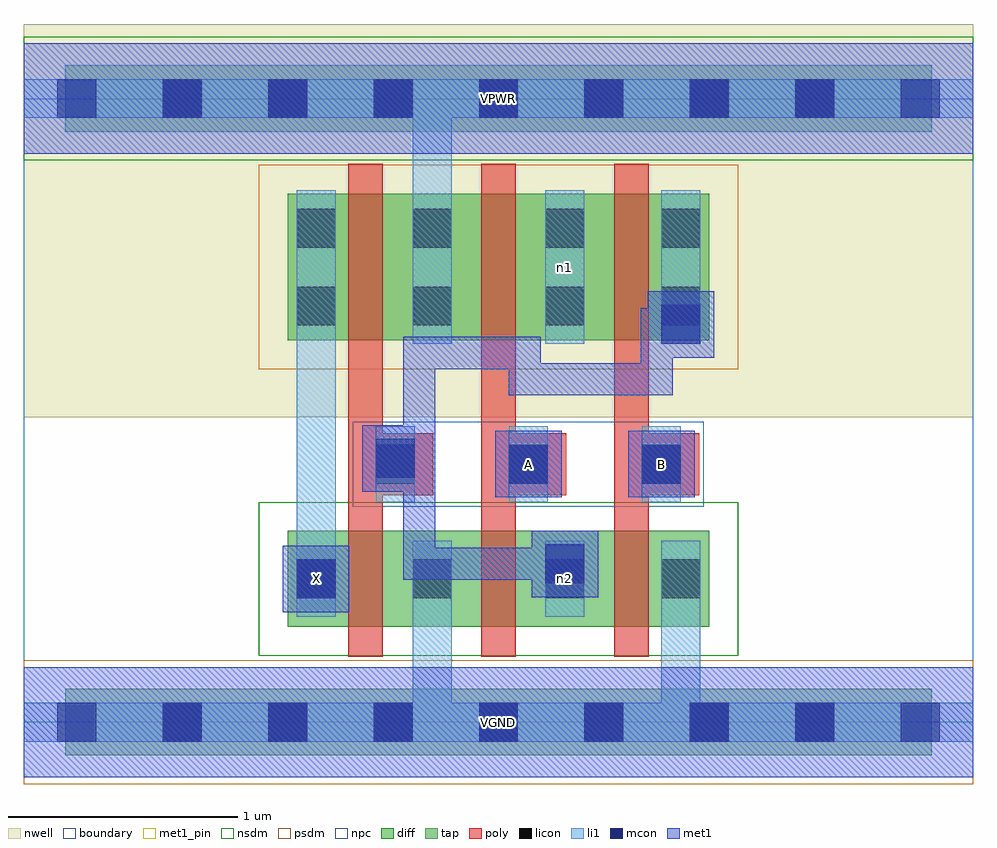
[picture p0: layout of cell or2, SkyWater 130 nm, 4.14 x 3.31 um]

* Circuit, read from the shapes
.subckt or2 A B VGND VPWR X n1 n2
XM1 VGND n2 X VGND sky130_fd_pr__nfet_01v8 w=0.42 l=0.15
XM2 n2 A VGND VGND sky130_fd_pr__nfet_01v8 w=0.42 l=0.15
XM3 VGND B n2 VGND sky130_fd_pr__nfet_01v8 w=0.42 l=0.15
XM4 VPWR n2 X VPWR sky130_fd_pr__pfet_01v8 w=0.64 l=0.15
XM5 n1 A VPWR VPWR sky130_fd_pr__pfet_01v8 w=0.64 l=0.15
XM6 n2 B n1 VPWR sky130_fd_pr__pfet_01v8 w=0.64 l=0.15
.ends

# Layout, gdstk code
import gdstk
lib = gdstk.Library(unit=1e-6, precision=1e-09)
def R(c, l, rs):  # rectangles x0, y0, x1, y1
    for r in rs: c.add(gdstk.rectangle(r[:2], r[2:], *l))
def A(c, l, x, y, w, h, nx, ny, dx, dy):  # array of equal rectangles
    R(c, l, [(x+i*dx, y+j*dy, x+i*dx+w, y+j*dy+h) for i in range(nx) for j in range(ny)])
nwell = (64, 20)
diff = (65, 20)
tap = (65, 44)
poly = (66, 20)
licon = (66, 44)
li1 = (67, 20)
mcon = (67, 44)
met1_pin = (68, 16)
met1 = (68, 20)
nsdm = (93, 44)
psdm = (94, 20)
npc = (95, 20)
boundary = (235, 4)

or2 = lib.new_cell('or2')
R(or2, nwell, [(0,1.33,4.14,3.045)])
R(or2, diff, [(1.15,0.415,2.99,0.835), (1.15,1.665,2.99,2.305)])
R(or2, tap, [(0.18,-0.145,3.96,0.145), (0.18,2.575,3.96,2.865)])
A(or2, poly, 1.415, 0.285, 0.15, 2.15, 3, 1, 0.58, 0)
A(or2, poly, 1.455, 0.99, 0.33, 0.27, 3, 1, 0.58, 0)
A(or2, licon, 0.605, -0.085, 0.17, 0.17, 7, 2, 0.46, 2.72)
A(or2, licon, 1.535, 1.04, 0.17, 0.17, 3, 1, 0.58, 0)
R(or2, licon, [(1.19,0.54,1.36,0.71), (1.695,0.54,1.865,0.71), (2.275,0.54,2.445,0.71), (2.78,0.54,2.95,0.71), (1.19,1.73,1.36,1.9), (1.695,1.73,1.865,1.9), (2.275,1.73,2.445,1.9), (2.78,1.73,2.95,1.9), (1.19,2.07,1.36,2.24), (1.695,2.07,1.865,2.24), (2.275,2.07,2.445,2.24), (2.78,2.07,2.95,2.24)])
A(or2, li1, 1.535, 0.96, 0.17, 0.33, 3, 1, 0.58, 0)
R(or2, li1, [(0,-0.085,4.14,0.085), (1.695,-0.085,1.865,0.79), (2.78,-0.085,2.95,0.79), (1.19,0.46,1.36,0.79), (1.19,0.46,1.36,2.32), (1.695,0.46,1.865,0.79), (2.275,0.46,2.445,0.79), (2.78,0.46,2.95,0.79), (1.19,1.65,1.36,2.32), (1.695,1.65,1.865,2.32), (1.695,1.65,1.865,2.805), (2.275,1.65,2.445,2.32), (2.78,1.65,2.95,2.32), (0,2.635,4.14,2.805)])
A(or2, mcon, 0.145, -0.085, 0.17, 0.17, 9, 2, 0.46, 2.72)
R(or2, mcon, [(1.19,0.54,1.36,0.71), (2.275,0.605,2.445,0.775), (2.115,1.04,2.285,1.21), (2.695,1.04,2.865,1.21), (1.535,1.065,1.705,1.235), (2.78,1.65,2.95,1.82)])
R(or2, met1_pin, [(0,-0.24,4.14,0.24), (1.13,0.48,1.42,0.77), (2.055,0.98,2.345,1.27), (2.635,0.98,2.925,1.27), (0,2.48,4.14,2.96)])
R(or2, met1, [(0,-0.24,4.14,0.24), (1.13,0.48,1.42,0.77), (2.215,0.545,2.505,0.835), (1.655,0.62,1.795,1.22), (1.655,0.62,2.255,0.76), (2.115,0.62,2.43,0.76), (2.055,0.98,2.345,1.27), (2.635,0.98,2.925,1.27), (1.475,1.005,1.765,1.295), (1.55,1.08,1.795,1.22), (1.655,1.08,1.795,1.68), (2.115,1.425,2.255,1.68), (2.115,1.425,2.83,1.565), (2.69,1.425,2.83,1.68), (1.655,1.54,2.255,1.68), (2.69,1.54,2.83,1.805), (2.72,1.59,3.01,1.88), (2.69,1.665,2.935,1.805), (0,2.48,4.14,2.96)])
R(or2, nsdm, [(1.025,0.29,3.115,0.96), (0,2.45,4.14,2.99)])
R(or2, psdm, [(0,-0.27,4.14,0.27), (1.025,1.54,3.115,2.43)])
R(or2, npc, [(1.435,0.94,2.965,1.31)])
R(or2, boundary, [(0,0,4.14,2.72)])
or2.add(gdstk.Label('n2', (2.36,0.625), layer=67, texttype=5))
or2.add(gdstk.Label('n1', (2.36,1.985), layer=67, texttype=5))
or2.add(gdstk.Label('A', (2.2,1.125), layer=68, texttype=5))
or2.add(gdstk.Label('B', (2.78,1.125), layer=68, texttype=5))
or2.add(gdstk.Label('X', (1.275,0.625), layer=68, texttype=5))
or2.add(gdstk.Label('VPWR', (2.07,2.72), layer=68, texttype=5))
or2.add(gdstk.Label('VGND', (2.07,0), layer=68, texttype=5))
or2.add(gdstk.Label('A', (2.2,1.125), layer=68, texttype=16))
or2.add(gdstk.Label('B', (2.78,1.125), layer=68, texttype=16))
or2.add(gdstk.Label('X', (1.275,0.625), layer=68, texttype=16))
or2.add(gdstk.Label('VPWR', (2.07,2.72), layer=68, texttype=16))
or2.add(gdstk.Label('VGND', (2.07,0), layer=68, texttype=16))

lib.write_gds('or2.gds')
